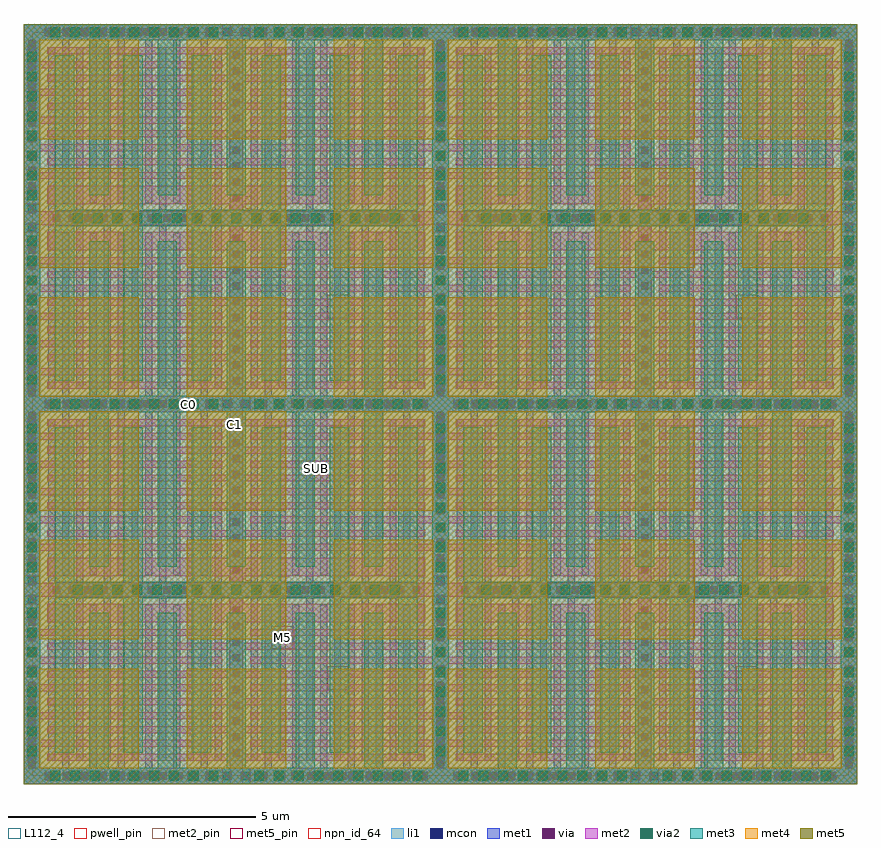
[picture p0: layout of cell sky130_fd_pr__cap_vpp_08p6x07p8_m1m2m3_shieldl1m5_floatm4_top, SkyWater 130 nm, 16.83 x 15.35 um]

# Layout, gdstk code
import gdstk
lib = gdstk.Library(unit=1e-6, precision=1e-09)
def R(c, l, rs):  # rectangles x0, y0, x1, y1
    for r in rs: c.add(gdstk.rectangle(r[:2], r[2:], *l))
def A(c, l, x, y, w, h, nx, ny, dx, dy):  # array of equal rectangles
    R(c, l, [(x+i*dx, y+j*dy, x+i*dx+w, y+j*dy+h) for i in range(nx) for j in range(ny)])
def P(c, l, *ps):  # polygons
    for p in ps: c.add(gdstk.Polygon(p, *l))
li1 = (67, 20)
mcon = (67, 44)
met1 = (68, 20)
via = (68, 44)
met2_pin = (69, 16)
met2 = (69, 20)
via2 = (69, 44)
met3 = (70, 20)
met4 = (71, 20)
met5_pin = (72, 16)
met5 = (72, 20)
npn_id_64 = (82, 64)
L112_4 = (112, 4)
pwell_pin = (122, 16)

sky130_fd_pr__cap_vpp_08 = lib.new_cell('sky130_fd_pr__cap_vpp_08p6x07p8_m1m2m3_shieldl1m5_floatm4')
R(sky130_fd_pr__cap_vpp_08, li1, [(0,0,8.58,7.84)])
A(sky130_fd_pr__cap_vpp_08, mcon, 0.425, 0.08, 0.17, 0.17, 22, 2, 0.36, 7.51)
A(sky130_fd_pr__cap_vpp_08, mcon, 0.08, 0.415, 0.17, 0.17, 1, 20, 0, 0.36)
A(sky130_fd_pr__cap_vpp_08, mcon, 8.33, 0.415, 0.17, 0.17, 1, 20, 0, 0.36)
P(sky130_fd_pr__cap_vpp_08, met1, [(8.085,7.37),(7.945,7.37),(7.945,4.08),(7.525,4.08),(7.525,7.37),(7.385,7.37),(7.385,4.08),(6.965,4.08),(6.965,7.37),(6.825,7.37),(6.825,4.08),(6.405,4.08),(6.405,7.37),(6.265,7.37),(6.265,4.08),(5.845,4.08),(5.845,7.37),(5.705,7.37),(5.705,4.08),(5.285,4.08),(5.285,7.37),(5.145,7.37),(5.145,4.08),(4.725,4.08),(4.725,7.37),(4.585,7.37),(4.585,4.08),(4.425,4.08),(4.425,7.37),(4.155,7.37),(4.155,4.08),(3.995,4.08),(3.995,7.37),(3.855,7.37),(3.855,4.08),(3.435,4.08),(3.435,7.37),(3.295,7.37),(3.295,4.08),(2.875,4.08),(2.875,7.37),(2.735,7.37),(2.735,4.08),(2.315,4.08),(2.315,7.37),(2.175,7.37),(2.175,4.08),(1.755,4.08),(1.755,7.37),(1.615,7.37),(1.615,4.08),(1.195,4.08),(1.195,7.37),(1.055,7.37),(1.055,4.08),(0.635,4.08),(0.635,7.37),(0.495,7.37),(0.495,0.47),(0.635,0.47),(0.635,3.76),(1.055,3.76),(1.055,0.47),(1.195,0.47),(1.195,3.76),(1.615,3.76),(1.615,0.47),(1.755,0.47),(1.755,3.76),(2.175,3.76),(2.175,0.47),(2.315,0.47),(2.315,3.76),(2.735,3.76),(2.735,0.47),(2.875,0.47),(2.875,3.76),(3.295,3.76),(3.295,0.47),(3.435,0.47),(3.435,3.76),(3.855,3.76),(3.855,0.47),(3.995,0.47),(3.995,3.76),(4.155,3.76),(4.155,0.47),(4.425,0.47),(4.425,3.76),(4.585,3.76),(4.585,0.47),(4.725,0.47),(4.725,3.76),(5.145,3.76),(5.145,0.47),(5.285,0.47),(5.285,3.76),(5.705,3.76),(5.705,0.47),(5.845,0.47),(5.845,3.76),(6.265,3.76),(6.265,0.47),(6.405,0.47),(6.405,3.76),(6.825,3.76),(6.825,0.47),(6.965,0.47),(6.965,3.76),(7.385,3.76),(7.385,0.47),(7.525,0.47),(7.525,3.76),(7.945,3.76),(7.945,0.47),(8.085,0.47)],
  [(8.58,7.84),(8.25,7.84),(8.25,0.33),(7.805,0.33),(7.805,3.62),(7.665,3.62),(7.665,0.33),(7.245,0.33),(7.245,3.62),(7.105,3.62),(7.105,0.33),(6.685,0.33),(6.685,3.62),(6.545,3.62),(6.545,0.33),(6.125,0.33),(6.125,3.62),(5.985,3.62),(5.985,0.33),(5.565,0.33),(5.565,3.62),(5.425,3.62),(5.425,0.33),(5.005,0.33),(5.005,3.62),(4.865,3.62),(4.865,0.33),(3.715,0.33),(3.715,3.62),(3.575,3.62),(3.575,0.33),(3.155,0.33),(3.155,3.62),(3.015,3.62),(3.015,0.33),(2.595,0.33),(2.595,3.62),(2.455,3.62),(2.455,0.33),(2.035,0.33),(2.035,3.62),(1.895,3.62),(1.895,0.33),(1.475,0.33),(1.475,3.62),(1.335,3.62),(1.335,0.33),(0.915,0.33),(0.915,3.62),(0.775,3.62),(0.775,0.33),(0.33,0.33),(0.33,7.51),(0.775,7.51),(0.775,4.22),(0.915,4.22),(0.915,7.51),(1.335,7.51),(1.335,4.22),(1.475,4.22),(1.475,7.51),(1.895,7.51),(1.895,4.22),(2.035,4.22),(2.035,7.51),(2.455,7.51),(2.455,4.22),(2.595,4.22),(2.595,7.51),(3.015,7.51),(3.015,4.22),(3.155,4.22),(3.155,7.51),(3.575,7.51),(3.575,4.22),(3.715,4.22),(3.715,7.51),(4.865,7.51),(4.865,4.22),(5.005,4.22),(5.005,7.51),(5.425,7.51),(5.425,4.22),(5.565,4.22),(5.565,7.51),(5.985,7.51),(5.985,4.22),(6.125,4.22),(6.125,7.51),(6.545,7.51),(6.545,4.22),(6.685,4.22),(6.685,7.51),(7.105,7.51),(7.105,4.22),(7.245,4.22),(7.245,7.51),(7.665,7.51),(7.665,4.22),(7.805,4.22),(7.805,7.51),(8.25,7.51),(8.25,7.84),(0,7.84),(0,0),(8.58,0)])
A(sky130_fd_pr__cap_vpp_08, via, 0.09, 0.32, 0.15, 0.15, 1, 10, 0, 0.32)
A(sky130_fd_pr__cap_vpp_08, via, 8.34, 0.32, 0.15, 0.15, 1, 10, 0, 0.32)
A(sky130_fd_pr__cap_vpp_08, via, 4.215, 0.555, 0.15, 0.15, 1, 10, 0, 0.32)
A(sky130_fd_pr__cap_vpp_08, via, 0.58, 3.845, 0.15, 0.15, 11, 1, 0.32, 0)
A(sky130_fd_pr__cap_vpp_08, via, 4.65, 3.845, 0.15, 0.15, 11, 1, 0.32, 0)
A(sky130_fd_pr__cap_vpp_08, via, 4.215, 4.255, 0.15, 0.15, 1, 10, 0, 0.32)
A(sky130_fd_pr__cap_vpp_08, via, 0.09, 4.49, 0.15, 0.15, 1, 10, 0, 0.32)
A(sky130_fd_pr__cap_vpp_08, via, 8.34, 4.49, 0.15, 0.15, 1, 10, 0, 0.32)
R(sky130_fd_pr__cap_vpp_08, via, [(0.495,0.09,0.645,0.24), (0.495,0.09,0.645,0.24), (0.815,0.09,0.965,0.24), (0.815,0.09,0.965,0.24), (1.135,0.09,1.285,0.24), (1.135,0.09,1.285,0.24), (1.455,0.09,1.605,0.24), (1.455,0.09,1.605,0.24), (1.775,0.09,1.925,0.24), (1.775,0.09,1.925,0.24), (2.095,0.09,2.245,0.24), (2.095,0.09,2.245,0.24), (2.415,0.09,2.565,0.24), (2.415,0.09,2.565,0.24), (2.735,0.09,2.885,0.24), (2.735,0.09,2.885,0.24), (3.055,0.09,3.205,0.24), (3.055,0.09,3.205,0.24), (3.375,0.09,3.525,0.24), (3.375,0.09,3.525,0.24), (3.695,0.09,3.845,0.24), (3.695,0.09,3.845,0.24), (4.765,0.09,4.915,0.24), (4.765,0.09,4.915,0.24), (5.085,0.09,5.235,0.24), (5.085,0.09,5.235,0.24), (5.405,0.09,5.555,0.24), (5.405,0.09,5.555,0.24), (5.725,0.09,5.875,0.24), (5.725,0.09,5.875,0.24), (6.045,0.09,6.195,0.24), (6.045,0.09,6.195,0.24), (6.365,0.09,6.515,0.24), (6.365,0.09,6.515,0.24), (6.685,0.09,6.835,0.24), (6.685,0.09,6.835,0.24), (7.005,0.09,7.155,0.24), (7.005,0.09,7.155,0.24), (7.325,0.09,7.475,0.24), (7.325,0.09,7.475,0.24), (7.645,0.09,7.795,0.24), (7.645,0.09,7.795,0.24), (7.965,0.09,8.115,0.24), (7.965,0.09,8.115,0.24), (0.495,7.6,0.645,7.75), (0.495,7.6,0.645,7.75), (0.815,7.6,0.965,7.75), (0.815,7.6,0.965,7.75), (1.135,7.6,1.285,7.75), (1.135,7.6,1.285,7.75), (1.455,7.6,1.605,7.75), (1.455,7.6,1.605,7.75), (1.775,7.6,1.925,7.75), (1.775,7.6,1.925,7.75), (2.095,7.6,2.245,7.75), (2.095,7.6,2.245,7.75), (2.415,7.6,2.565,7.75), (2.415,7.6,2.565,7.75), (2.735,7.6,2.885,7.75), (2.735,7.6,2.885,7.75), (3.055,7.6,3.205,7.75), (3.055,7.6,3.205,7.75), (3.375,7.6,3.525,7.75), (3.375,7.6,3.525,7.75), (3.695,7.6,3.845,7.75), (3.695,7.6,3.845,7.75), (4.765,7.6,4.915,7.75), (4.765,7.6,4.915,7.75), (5.085,7.6,5.235,7.75), (5.085,7.6,5.235,7.75), (5.405,7.6,5.555,7.75), (5.405,7.6,5.555,7.75), (5.725,7.6,5.875,7.75), (5.725,7.6,5.875,7.75), (6.045,7.6,6.195,7.75), (6.045,7.6,6.195,7.75), (6.365,7.6,6.515,7.75), (6.365,7.6,6.515,7.75), (6.685,7.6,6.835,7.75), (6.685,7.6,6.835,7.75), (7.005,7.6,7.155,7.75), (7.005,7.6,7.155,7.75), (7.325,7.6,7.475,7.75), (7.325,7.6,7.475,7.75), (7.645,7.6,7.795,7.75), (7.645,7.6,7.795,7.75), (7.965,7.6,8.115,7.75), (7.965,7.6,8.115,7.75)])
R(sky130_fd_pr__cap_vpp_08, met2_pin, [(4.205,7.6,4.37,7.725), (3.225,7.625,3.355,7.775)])
P(sky130_fd_pr__cap_vpp_08, met2, [(8.58,4.055),(8.21,4.055),(8.21,4.06),(4.43,4.06),(4.43,4.2),(8.11,4.2),(8.11,4.57),(4.43,4.57),(4.43,4.99),(8.11,4.99),(8.11,5.13),(4.43,5.13),(4.43,5.55),(8.11,5.55),(8.11,5.69),(4.43,5.69),(4.43,6.11),(8.11,6.11),(8.11,6.25),(4.43,6.25),(4.43,6.67),(8.11,6.67),(8.11,6.81),(4.43,6.81),(4.43,7.23),(8.11,7.23),(8.11,7.37),(4.425,7.37),(4.425,7.84),(4.155,7.84),(4.155,7.37),(0.47,7.37),(0.47,7.23),(4.15,7.23),(4.15,6.81),(0.47,6.81),(0.47,6.67),(4.15,6.67),(4.15,6.25),(0.47,6.25),(0.47,6.11),(4.15,6.11),(4.15,5.69),(0.47,5.69),(0.47,5.55),(4.15,5.55),(4.15,5.13),(0.47,5.13),(0.47,4.99),(4.15,4.99),(4.15,4.57),(0.47,4.57),(0.47,4.2),(4.15,4.2),(4.15,4.06),(0.37,4.06),(0.37,4.055),(0,4.055),(0,3.785),(0.37,3.785),(0.37,3.78),(4.15,3.78),(4.15,3.64),(0.47,3.64),(0.47,3.27),(4.15,3.27),(4.15,2.85),(0.47,2.85),(0.47,2.71),(4.15,2.71),(4.15,2.29),(0.47,2.29),(0.47,2.15),(4.15,2.15),(4.15,1.73),(0.47,1.73),(0.47,1.59),(4.15,1.59),(4.15,1.17),(0.47,1.17),(0.47,1.03),(4.15,1.03),(4.15,0.61),(0.47,0.61),(0.47,0.47),(4.155,0.47),(4.155,0),(4.425,0),(4.425,0.47),(8.11,0.47),(8.11,0.61),(4.43,0.61),(4.43,1.03),(8.11,1.03),(8.11,1.17),(4.43,1.17),(4.43,1.59),(8.11,1.59),(8.11,1.73),(4.43,1.73),(4.43,2.15),(8.11,2.15),(8.11,2.29),(4.43,2.29),(4.43,2.71),(8.11,2.71),(8.11,2.85),(4.43,2.85),(4.43,3.27),(8.11,3.27),(8.11,3.64),(4.43,3.64),(4.43,3.78),(8.21,3.78),(8.21,3.785),(8.58,3.785)],
  [(8.58,3.645),(8.25,3.645),(8.25,3.13),(4.57,3.13),(4.57,2.99),(8.25,2.99),(8.25,2.57),(4.57,2.57),(4.57,2.43),(8.25,2.43),(8.25,2.01),(4.57,2.01),(4.57,1.87),(8.25,1.87),(8.25,1.45),(4.57,1.45),(4.57,1.31),(8.25,1.31),(8.25,0.89),(4.57,0.89),(4.57,0.75),(8.25,0.75),(8.25,0.33),(4.565,0.33),(4.565,0),(8.58,0)],
  [(4.015,7.84),(0,7.84),(0,4.195),(0.33,4.195),(0.33,4.71),(4.01,4.71),(4.01,4.85),(0.33,4.85),(0.33,5.27),(4.01,5.27),(4.01,5.41),(0.33,5.41),(0.33,5.83),(4.01,5.83),(4.01,5.97),(0.33,5.97),(0.33,6.39),(4.01,6.39),(4.01,6.53),(0.33,6.53),(0.33,6.95),(4.01,6.95),(4.01,7.09),(0.33,7.09),(0.33,7.51),(4.015,7.51)],
  [(8.58,7.84),(4.565,7.84),(4.565,7.51),(8.25,7.51),(8.25,7.09),(4.57,7.09),(4.57,6.95),(8.25,6.95),(8.25,6.53),(4.57,6.53),(4.57,6.39),(8.25,6.39),(8.25,5.97),(4.57,5.97),(4.57,5.83),(8.25,5.83),(8.25,5.41),(4.57,5.41),(4.57,5.27),(8.25,5.27),(8.25,4.85),(4.57,4.85),(4.57,4.71),(8.25,4.71),(8.25,4.195),(8.58,4.195)],
  [(4.015,0.33),(0.33,0.33),(0.33,0.75),(4.01,0.75),(4.01,0.89),(0.33,0.89),(0.33,1.31),(4.01,1.31),(4.01,1.45),(0.33,1.45),(0.33,1.87),(4.01,1.87),(4.01,2.01),(0.33,2.01),(0.33,2.43),(4.01,2.43),(4.01,2.57),(0.33,2.57),(0.33,2.99),(4.01,2.99),(4.01,3.13),(0.33,3.13),(0.33,3.645),(0,3.645),(0,0),(4.015,0)])
A(sky130_fd_pr__cap_vpp_08, via2, 0.53, 0.065, 0.2, 0.2, 9, 2, 0.4, 7.51)
A(sky130_fd_pr__cap_vpp_08, via2, 4.65, 0.065, 0.2, 0.2, 9, 2, 0.4, 7.51)
A(sky130_fd_pr__cap_vpp_08, via2, 0.065, 0.56, 0.2, 0.2, 1, 8, 0, 0.4)
A(sky130_fd_pr__cap_vpp_08, via2, 8.315, 0.56, 0.2, 0.2, 1, 8, 0, 0.4)
A(sky130_fd_pr__cap_vpp_08, via2, 0.99, 3.82, 0.2, 0.2, 17, 1, 0.4, 0)
A(sky130_fd_pr__cap_vpp_08, via2, 0.065, 4.28, 0.2, 0.2, 1, 8, 0, 0.4)
A(sky130_fd_pr__cap_vpp_08, via2, 8.315, 4.28, 0.2, 0.2, 1, 8, 0, 0.4)
P(sky130_fd_pr__cap_vpp_08, met3, [(7.95,7.21),(7.56,7.21),(7.56,4.085),(6.57,4.085),(6.57,7.21),(6.18,7.21),(6.18,4.085),(5.19,4.085),(5.19,7.21),(4.8,7.21),(4.8,4.085),(3.78,4.085),(3.78,7.21),(3.39,7.21),(3.39,4.085),(2.4,4.085),(2.4,7.21),(2.01,7.21),(2.01,4.085),(1.02,4.085),(1.02,7.21),(0.63,7.21),(0.63,0.63),(1.02,0.63),(1.02,3.755),(2.01,3.755),(2.01,0.63),(2.4,0.63),(2.4,3.755),(3.39,3.755),(3.39,0.63),(3.78,0.63),(3.78,3.755),(4.8,3.755),(4.8,0.63),(5.19,0.63),(5.19,3.755),(6.18,3.755),(6.18,0.63),(6.57,0.63),(6.57,3.755),(7.56,3.755),(7.56,0.63),(7.95,0.63)],
  [(8.58,7.84),(8.25,7.84),(8.25,0.33),(7.26,0.33),(7.26,3.455),(6.87,3.455),(6.87,0.33),(5.88,0.33),(5.88,3.455),(5.49,3.455),(5.49,0.33),(4.485,0.33),(4.485,3.455),(4.095,3.455),(4.095,0.33),(3.09,0.33),(3.09,3.455),(2.7,3.455),(2.7,0.33),(1.71,0.33),(1.71,3.455),(1.32,3.455),(1.32,0.33),(0.33,0.33),(0.33,7.51),(1.32,7.51),(1.32,4.385),(1.71,4.385),(1.71,7.51),(2.7,7.51),(2.7,4.385),(3.09,4.385),(3.09,7.51),(4.095,7.51),(4.095,4.385),(4.485,4.385),(4.485,7.51),(5.49,7.51),(5.49,4.385),(5.88,4.385),(5.88,7.51),(6.87,7.51),(6.87,4.385),(7.26,4.385),(7.26,7.51),(8.25,7.51),(8.25,7.84),(0,7.84),(0,0),(8.58,0)])
R(sky130_fd_pr__cap_vpp_08, met4, [(0.315,0.315,2.325,2.325), (3.29,0.315,5.3,2.325), (6.255,0.315,8.265,2.325), (0.315,2.92,2.325,4.93), (3.29,2.92,5.3,4.93), (6.255,2.92,8.265,4.93), (0.315,5.515,2.325,7.525), (3.29,5.515,5.3,7.525), (6.255,5.515,8.265,7.525)])
R(sky130_fd_pr__cap_vpp_08, met5_pin, [(6.14,1.9,6.575,2.375)])
R(sky130_fd_pr__cap_vpp_08, met5, [(0,0,8.58,7.84)])
R(sky130_fd_pr__cap_vpp_08, npn_id_64, [(0.17,0.17,8.41,7.67)])
R(sky130_fd_pr__cap_vpp_08, L112_4, [(0,0,8.58,7.84)])
R(sky130_fd_pr__cap_vpp_08, pwell_pin, [(4.47,4.105,4.59,4.36)])
sky130_fd_pr__cap_vpp_08.add(gdstk.Label('m4_float', (7.26,6.52), layer=83, texttype=44))
sky130_fd_pr__cap_vpp_08.add(gdstk.Label('m4_float', (7.26,3.925), layer=83, texttype=44))
sky130_fd_pr__cap_vpp_08.add(gdstk.Label('m4_float', (7.26,1.32), layer=83, texttype=44))
sky130_fd_pr__cap_vpp_08.add(gdstk.Label('m4_float', (4.295,6.52), layer=83, texttype=44))
sky130_fd_pr__cap_vpp_08.add(gdstk.Label('m4_float', (4.295,3.925), layer=83, texttype=44))
sky130_fd_pr__cap_vpp_08.add(gdstk.Label('m4_float', (4.295,1.32), layer=83, texttype=44))
sky130_fd_pr__cap_vpp_08.add(gdstk.Label('m4_float', (1.32,6.52), layer=83, texttype=44))
sky130_fd_pr__cap_vpp_08.add(gdstk.Label('m4_float', (1.32,3.925), layer=83, texttype=44))
sky130_fd_pr__cap_vpp_08.add(gdstk.Label('m4_float', (1.32,1.32), layer=83, texttype=44))
sky130_fd_pr__cap_vpp_08.add(gdstk.Label('MET5', (6.36,2.14), layer=72, texttype=5))
sky130_fd_pr__cap_vpp_08.add(gdstk.Label('SUB', (4.53,4.23), layer=64, texttype=59))
sky130_fd_pr__cap_vpp_08.add(gdstk.Label('C0', (3.29,7.7), layer=69, texttype=5))
sky130_fd_pr__cap_vpp_08.add(gdstk.Label('C1', (4.285,7.665), layer=69, texttype=5))

c_sky130_fd_pr__cap_vpp_08 = lib.new_cell('sky130_fd_pr__cap_vpp_08p6x07p8_m1m2m3_shieldl1m5_floatm4_top')
R(c_sky130_fd_pr__cap_vpp_08, met2_pin, [(4.195,7.19,4.315,7.33), (3.24,7.585,3.395,7.73)])
R(c_sky130_fd_pr__cap_vpp_08, met5_pin, [(5.005,2.73,5.46,3.185)])
R(c_sky130_fd_pr__cap_vpp_08, pwell_pin, [(5.895,6.345,5.945,6.395)])
r = gdstk.Reference(sky130_fd_pr__cap_vpp_08, (0,0)); r.repetition = gdstk.Repetition(2, 2, v1=(8.25,0), v2=(0,7.51)); c_sky130_fd_pr__cap_vpp_08.add(r)
c_sky130_fd_pr__cap_vpp_08.add(gdstk.Label('M5', (5.23,2.955), layer=72, texttype=5))
c_sky130_fd_pr__cap_vpp_08.add(gdstk.Label('SUB', (5.92,6.37), layer=64, texttype=59))
c_sky130_fd_pr__cap_vpp_08.add(gdstk.Label('C0', (3.32,7.66), layer=69, texttype=5))
c_sky130_fd_pr__cap_vpp_08.add(gdstk.Label('C1', (4.255,7.26), layer=69, texttype=5))

lib.write_gds('sky130_fd_pr__cap_vpp_08p6x07p8_m1m2m3_shieldl1m5_floatm4_top.gds')
